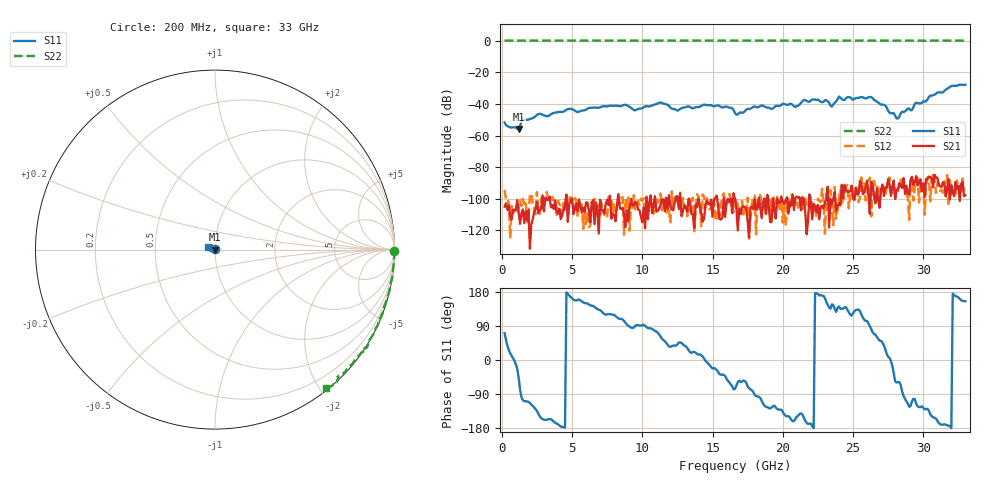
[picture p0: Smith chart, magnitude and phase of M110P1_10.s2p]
# GHZ S RI R 50
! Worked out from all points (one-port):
!   329 points, 200 MHz to 33 GHz, reference 50 ohm
!   lowest |S11| = -55.9 dB at 1.2 GHz (marker M1), VSWR 1.00, Z = 50.1 - j0.117 ohm
!   |S11| at or under -10 dB: start of sweep to end of sweep
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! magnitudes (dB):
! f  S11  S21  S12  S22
! 200 MHz  -51.7  -105.0  -94.4  0.0
! 1.2 GHz  -55.9  -108.1  -106.4  0.0
! 1.5 GHz  -49.8  -106.7  -100.1  0.0
! 2.6 GHz  -46.4  -109.0  -107.3  0.0
! 5.7 GHz  -44.3  -108.8  -103.6  0.0
! 8.8 GHz  -40.6  -118.0  -100.2  0.0
! 9.5 GHz  -44.1  -101.7  -106.8  0.0
! 11.2 GHz  -39.3  -106.3  -101.1  0.0
! 12.5 GHz  -44.3  -98.3  -101.7  0.0
! 15.4 GHz  -40.9  -104.7  -102.6  0.0
! 16.6 GHz  -45.8  -100.2  -105.0  0.0
! 18.5 GHz  -40.9  -112.2  -107.0  0.0
! 20.9 GHz  -42.0  -99.4  -102.3  0.0
! 22.1 GHz  -37.3  -113.0  -105.8  0.0
! 23.1 GHz  -37.8  -100.7  -96.6  0.0
! 23.5 GHz  -41.7  -103.6  -106.0  0.0
! 24 GHz  -35.4  -102.6  -99.9  0.0
! 26.3 GHz  -35.8  -89.5  -111.1  -0.1
! 27.6 GHz  -45.5  -90.6  -86.5  -0.1
! 28.2 GHz  -49.3  -94.3  -95.6  -0.1
! 29.5 GHz  -39.2  -85.7  -88.6  0.0
! 33 GHz  -27.9  -97.7  -94.3  -0.1
